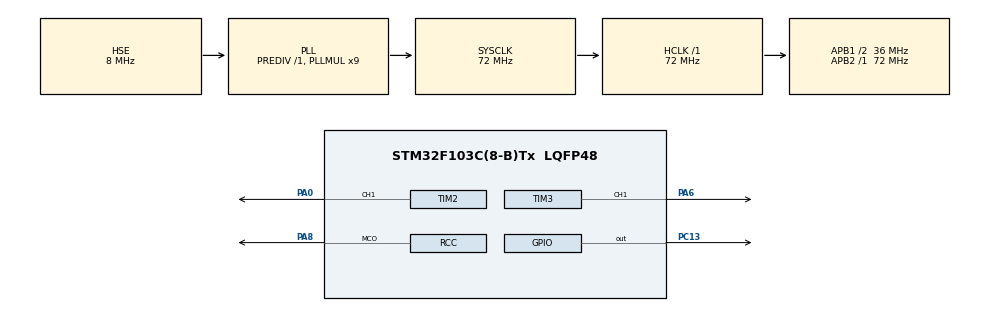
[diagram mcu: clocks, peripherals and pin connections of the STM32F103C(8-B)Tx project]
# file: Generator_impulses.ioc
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Mcu.Family=STM32F1
Mcu.Name=STM32F103C(8-B)Tx
Mcu.Package=LQFP48
NVIC.PriorityGroup=NVIC_PRIORITYGROUP_4
PA0-WKUP.Signal=S_TIM2_CH1_ETR
PA13.Mode=Serial_Wire
PA13.Signal=SYS_JTMS-SWDIO
PA14.Mode=Serial_Wire
PA14.Signal=SYS_JTCK-SWCLK
PA6.Signal=S_TIM3_CH1
PA8.Mode=Clock-out
PA8.Signal=RCC_MCO
PC13-TAMPER-RTC.GPIO_Speed=GPIO_SPEED_FREQ_HIGH
PC13-TAMPER-RTC.Signal=GPIO_Output
PD0-OSC_IN.Mode=HSE-External-Oscillator
PD0-OSC_IN.Signal=RCC_OSC_IN
PD1-OSC_OUT.Mode=HSE-External-Oscillator
PD1-OSC_OUT.Signal=RCC_OSC_OUT
ProjectManager.HeapSize=0x200
ProjectManager.StackSize=0x400
ProjectManager.TargetToolchain=STM32CubeIDE
RCC.AHBFreq_Value=72000000
RCC.APB1CLKDivider=RCC_HCLK_DIV2
RCC.APB1Freq_Value=36000000
RCC.APB1TimFreq_Value=72000000
RCC.APB2Freq_Value=72000000
RCC.APB2TimFreq_Value=72000000
RCC.HCLKFreq_Value=72000000
RCC.PLLMUL=RCC_PLL_MUL9
RCC.PLLSourceVirtual=RCC_PLLSOURCE_HSE
RCC.RCC_MCOSource=RCC_MCO1SOURCE_PLLCLK
RCC.SYSCLKFreq_VALUE=72000000
RCC.SYSCLKSource=RCC_SYSCLKSOURCE_PLLCLK
RCC.USBFreq_Value=72000000
SH.S_TIM2_CH1_ETR.0=TIM2_CH1,PWM Generation1 CH1
SH.S_TIM3_CH1.0=TIM3_CH1,PWM Generation1 CH1
TIM2.Channel-PWM\ Generation1\ CH1=TIM_CHANNEL_1
TIM2.Period=1000-1
TIM2.Prescaler=72-1
TIM2.Pulse-PWM\ Generation1\ CH1=5
TIM3.Channel-PWM\ Generation1\ CH1=TIM_CHANNEL_1
TIM3.Period=40-1
TIM3.Prescaler=24-1
TIM3.Pulse-PWM\ Generation1\ CH1=20
VP_TIM2_VS_ClockSourceINT.Mode=Internal
VP_TIM3_VS_ClockSourceINT.Mode=Internal
board=custom

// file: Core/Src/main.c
/* USER CODE BEGIN Header */
/**
 ******************************************************************************
 * @file           : main.c
 * @brief          : Main program body
 ******************************************************************************
 * @attention
 *
 * <h2><center>&copy; Copyright (c) 2021 STMicroelectronics.
 * All rights reserved.</center></h2>
 *
 * This software component is licensed by ST under BSD 3-Clause license,
 * the "License"; You may not use this file except in compliance with the
 * License. You may obtain a copy of the License at:
 *                        opensource.org/licenses/BSD-3-Clause
 *
 ******************************************************************************
 */
/* USER CODE END Header */
#include "main.h"

/* USER CODE BEGIN Includes */
#define    DWT_CYCCNT    *(volatile unsigned long *)0xE0001004
#define    DWT_CONTROL   *(volatile unsigned long *)0xE0001000
#define    SCB_DEMCR     *(volatile unsigned long *)0xE000EDFC
/* USER CODE END Includes */

TIM_HandleTypeDef htim2;
TIM_HandleTypeDef htim3;

void SystemClock_Config(void);
static void MX_GPIO_Init(void);
static void MX_TIM2_Init(void);
static void MX_TIM3_Init(void);
/* USER CODE BEGIN PFP */
void DWT_Init(void);
void delay_us(uint32_t us);
/* USER CODE END PFP */

/* USER CODE BEGIN 0 */
void DWT_Init(void) {
	//разрешаем использовать счётчик
	SCB_DEMCR |= CoreDebug_DEMCR_TRCENA_Msk;
	//обнуляем значение счётного регистра
	DWT_CYCCNT = 0;
	//запускаем счётчик
	DWT_CONTROL |= DWT_CTRL_CYCCNTENA_Msk;
}

static __inline uint32_t delta(uint32_t t0, uint32_t t1) {
	return (t1 - t0);
}
void delay_us(uint32_t us) {
	uint32_t t0 = DWT->CYCCNT;
	uint32_t us_count_tic = us * (SystemCoreClock / 1000000);
	while (delta(t0, DWT->CYCCNT) < us_count_tic);
}
/* USER CODE END 0 */

int main(void) {

	/* MCU Configuration--------------------------------------------------------*/

	/* Reset of all peripherals, Initializes the Flash interface and the Systick. */
	HAL_Init();

	/* Configure the system clock */
	SystemClock_Config();

	/* Initialize all configured peripherals */
	MX_GPIO_Init();
	MX_TIM2_Init();
	MX_TIM3_Init();
	/* USER CODE BEGIN 2 */

	DWT_Init();
	HAL_TIM_PWM_Start(&htim2, TIM_CHANNEL_1);
	HAL_TIM_PWM_Start(&htim3, TIM_CHANNEL_1);
	//TIM2->CCR1 = 1;
	/* USER CODE END 2 */

	/* Infinite loop */
	while (1) {

		/* USER CODE BEGIN 3 */
		/*GPIOC->BSRR = GPIO_PIN_13;
		 delay_us(1000000);
		 GPIOC->BSRR = (uint32_t) GPIO_PIN_13 << 16;
		 delay_us(1000000);*/

		//50 гц на канал 1 и на канал 2
		TIM2->PSC = 71;
		TIM2->ARR = 19999;
		TIM2->CCR1 = 9999;
		TIM3->PSC = 71;
		TIM3->ARR = 19999;
		TIM3->CCR1 = 9999;
		HAL_Delay(5000);
		//100 гц на канал 1 и на канал 2
		TIM2->PSC = 71;
		TIM2->ARR = 9999;
		TIM2->CCR1 = 4999;
		TIM3->PSC = 71;
		TIM3->ARR = 9999;
		TIM3->CCR1 = 4999;
		HAL_Delay(5000);
		//1 кгц на канал 1 и на канал 2
		TIM2->PSC = 71;
		TIM2->ARR = 999;
		TIM2->CCR1 = 499;
		TIM3->PSC = 71;
		TIM3->ARR = 999;
		TIM3->CCR1 = 499;
		HAL_Delay(5000);
		//100 кгц на канал 1 и на канал 2
		TIM2->PSC = 71;
		TIM2->ARR = 9;
		TIM2->CCR1 = 4;
		TIM3->PSC = 71;
		TIM3->ARR = 9;
		TIM3->CCR1 = 4;
		HAL_Delay(5000);
		//1 мгц на канал 1 и на канал 2
		TIM2->PSC = 35;
		TIM2->ARR = 1;
		TIM2->CCR1 = 1;
		TIM3->PSC = 35;
		TIM3->ARR = 1;
		TIM3->CCR1 = 1;
		HAL_Delay(5000);
		//18 мгц на канал 1 и на канал 2
		TIM2->PSC = 1;
		TIM2->ARR = 1;
		TIM2->CCR1 = 1;
		TIM3->PSC = 1;
		TIM3->ARR = 1;
		TIM3->CCR1 = 1;
		HAL_Delay(5000);

		//50 гц на канал 1 и 18 мгц на канал 2
		TIM2->PSC = 71;
		TIM2->ARR = 19999;
		TIM2->CCR1 = 9999;
		TIM3->PSC = 1;
		TIM3->ARR = 1;
		TIM3->CCR1 = 1;
		HAL_Delay(5000);
		//100 гц на канал 1 и 1 мгц на канал 2
		TIM2->PSC = 71;
		TIM2->ARR = 9999;
		TIM2->CCR1 = 4999;
		TIM3->PSC = 35;
		TIM3->ARR = 1;
		TIM3->CCR1 = 1;
		HAL_Delay(5000);
		//1 кгц на канал 1 и на 100 кгц на канал 2
		TIM2->PSC = 71;
		TIM2->ARR = 999;
		TIM2->CCR1 = 499;
		TIM3->PSC = 71;
		TIM3->ARR = 9;
		TIM3->CCR1 = 4;
		HAL_Delay(5000);
		//100 кгц на канал 1 и 1 кгц на канал 2
		TIM2->PSC = 71;
		TIM2->ARR = 9;
		TIM2->CCR1 = 4;
		TIM3->PSC = 71;
		TIM3->ARR = 999;
		TIM3->CCR1 = 499;
		HAL_Delay(5000);
		//1 мгц на канал 1 и 100 гц на канал 2
		TIM2->PSC = 35;
		TIM2->ARR = 1;
		TIM2->CCR1 = 1;
		TIM3->PSC = 71;
		TIM3->ARR = 9999;
		TIM3->CCR1 = 4999;
		HAL_Delay(5000);
		//18 мгц на канал 1 и 50 гц на канал 2
		TIM2->PSC = 1;
		TIM2->ARR = 1;
		TIM2->CCR1 = 1;
		TIM3->ARR = 19999;
		TIM3->CCR1 = 9999;
		HAL_Delay(5000);
	}
	/* USER CODE END 3 */
}

void SystemClock_Config(void) {
	RCC_OscInitTypeDef RCC_OscInitStruct = { 0 };
	RCC_ClkInitTypeDef RCC_ClkInitStruct = { 0 };

	/** Initializes the RCC Oscillators according to the specified parameters
	 * in the RCC_OscInitTypeDef structure.
	 */
	RCC_OscInitStruct.OscillatorType = RCC_OSCILLATORTYPE_HSE;
	RCC_OscInitStruct.HSEState = RCC_HSE_ON;
	RCC_OscInitStruct.HSEPredivValue = RCC_HSE_PREDIV_DIV1;
	RCC_OscInitStruct.HSIState = RCC_HSI_ON;
	RCC_OscInitStruct.PLL.PLLState = RCC_PLL_ON;
	RCC_OscInitStruct.PLL.PLLSource = RCC_PLLSOURCE_HSE;
	RCC_OscInitStruct.PLL.PLLMUL = RCC_PLL_MUL9;
	if (HAL_RCC_OscConfig(&RCC_OscInitStruct) != HAL_OK) {
		Error_Handler();
	}
	/** Initializes the CPU, AHB and APB buses clocks
	 */
	RCC_ClkInitStruct.ClockType = RCC_CLOCKTYPE_HCLK | RCC_CLOCKTYPE_SYSCLK | RCC_CLOCKTYPE_PCLK1 | RCC_CLOCKTYPE_PCLK2;
	RCC_ClkInitStruct.SYSCLKSource = RCC_SYSCLKSOURCE_PLLCLK;
	RCC_ClkInitStruct.AHBCLKDivider = RCC_SYSCLK_DIV1;
	RCC_ClkInitStruct.APB1CLKDivider = RCC_HCLK_DIV2;
	RCC_ClkInitStruct.APB2CLKDivider = RCC_HCLK_DIV1;

	if (HAL_RCC_ClockConfig(&RCC_ClkInitStruct, FLASH_LATENCY_2) != HAL_OK) {
		Error_Handler();
	}
	HAL_RCC_MCOConfig(RCC_MCO, RCC_MCO1SOURCE_PLLCLK, RCC_MCODIV_1);
}

static void MX_TIM2_Init(void) {

	TIM_ClockConfigTypeDef sClockSourceConfig = { 0 };
	TIM_MasterConfigTypeDef sMasterConfig = { 0 };
	TIM_OC_InitTypeDef sConfigOC = { 0 };

	htim2.Instance = TIM2;
	htim2.Init.Prescaler = 0;
	htim2.Init.CounterMode = TIM_COUNTERMODE_UP;
	htim2.Init.Period = 1;
	htim2.Init.ClockDivision = TIM_CLOCKDIVISION_DIV1;
	htim2.Init.AutoReloadPreload = TIM_AUTORELOAD_PRELOAD_DISABLE;
	if (HAL_TIM_Base_Init(&htim2) != HAL_OK) {
		Error_Handler();
	}
	sClockSourceConfig.ClockSource = TIM_CLOCKSOURCE_INTERNAL;
	if (HAL_TIM_ConfigClockSource(&htim2, &sClockSourceConfig) != HAL_OK) {
		Error_Handler();
	}
	if (HAL_TIM_PWM_Init(&htim2) != HAL_OK) {
		Error_Handler();
	}
	sMasterConfig.MasterOutputTrigger = TIM_TRGO_RESET;
	sMasterConfig.MasterSlaveMode = TIM_MASTERSLAVEMODE_DISABLE;
	if (HAL_TIMEx_MasterConfigSynchronization(&htim2, &sMasterConfig) != HAL_OK) {
		Error_Handler();
	}
	sConfigOC.OCMode = TIM_OCMODE_PWM1;
	sConfigOC.Pulse = 5;
	sConfigOC.OCPolarity = TIM_OCPOLARITY_HIGH;
	sConfigOC.OCFastMode = TIM_OCFAST_DISABLE;
	if (HAL_TIM_PWM_ConfigChannel(&htim2, &sConfigOC, TIM_CHANNEL_1) != HAL_OK) {
		Error_Handler();
	}
	HAL_TIM_MspPostInit(&htim2);

}

static void MX_TIM3_Init(void) {

	TIM_ClockConfigTypeDef sClockSourceConfig = { 0 };
	TIM_MasterConfigTypeDef sMasterConfig = { 0 };
	TIM_OC_InitTypeDef sConfigOC = { 0 };

	htim3.Instance = TIM3;
	htim3.Init.Prescaler = 24 - 1;
	htim3.Init.CounterMode = TIM_COUNTERMODE_UP;
	htim3.Init.Period = 40 - 1;
	htim3.Init.ClockDivision = TIM_CLOCKDIVISION_DIV1;
	htim3.Init.AutoReloadPreload = TIM_AUTORELOAD_PRELOAD_DISABLE;
	if (HAL_TIM_Base_Init(&htim3) != HAL_OK) {
		Error_Handler();
	}
	sClockSourceConfig.ClockSource = TIM_CLOCKSOURCE_INTERNAL;
	if (HAL_TIM_ConfigClockSource(&htim3, &sClockSourceConfig) != HAL_OK) {
		Error_Handler();
	}
	if (HAL_TIM_PWM_Init(&htim3) != HAL_OK) {
		Error_Handler();
	}
	sMasterConfig.MasterOutputTrigger = TIM_TRGO_RESET;
	sMasterConfig.MasterSlaveMode = TIM_MASTERSLAVEMODE_DISABLE;
	if (HAL_TIMEx_MasterConfigSynchronization(&htim3, &sMasterConfig) != HAL_OK) {
		Error_Handler();
	}
	sConfigOC.OCMode = TIM_OCMODE_PWM1;
	sConfigOC.Pulse = 20;
	sConfigOC.OCPolarity = TIM_OCPOLARITY_HIGH;
	sConfigOC.OCFastMode = TIM_OCFAST_DISABLE;
	if (HAL_TIM_PWM_ConfigChannel(&htim3, &sConfigOC, TIM_CHANNEL_1) != HAL_OK) {
		Error_Handler();
	}
	HAL_TIM_MspPostInit(&htim3);

}

static void MX_GPIO_Init(void) {
	GPIO_InitTypeDef GPIO_InitStruct = { 0 };

	/* GPIO Ports Clock Enable */
	__HAL_RCC_GPIOC_CLK_ENABLE();
	__HAL_RCC_GPIOD_CLK_ENABLE();
	__HAL_RCC_GPIOA_CLK_ENABLE();

	/*Configure GPIO pin Output Level */
	HAL_GPIO_WritePin(GPIOC, GPIO_PIN_13, GPIO_PIN_RESET);

	/*Configure GPIO pin : PC13 */
	GPIO_InitStruct.Pin = GPIO_PIN_13;
	GPIO_InitStruct.Mode = GPIO_MODE_OUTPUT_PP;
	GPIO_InitStruct.Pull = GPIO_NOPULL;
	GPIO_InitStruct.Speed = GPIO_SPEED_FREQ_HIGH;
	HAL_GPIO_Init(GPIOC, &GPIO_InitStruct);

	/*Configure GPIO pin : PA8 */
	GPIO_InitStruct.Pin = GPIO_PIN_8;
	GPIO_InitStruct.Mode = GPIO_MODE_AF_PP;
	GPIO_InitStruct.Speed = GPIO_SPEED_FREQ_LOW;
	HAL_GPIO_Init(GPIOA, &GPIO_InitStruct);

}

void Error_Handler(void) {
	__disable_irq();
	while (1) {
	}
}

/************************ (C) COPYRIGHT STMicroelectronics *****END OF FILE****/
